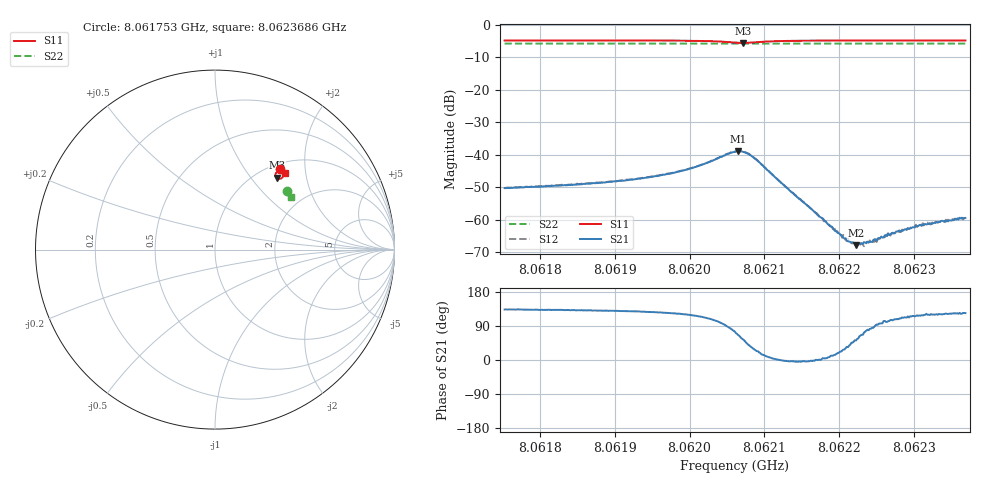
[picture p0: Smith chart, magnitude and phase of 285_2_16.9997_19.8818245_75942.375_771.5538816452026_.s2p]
#  HZ  S  RI  R  50.00
! Rohde & Schwarz Vector Network Analyzer
! Rohde-Schwarz,ZNB20-2Port,1311601062101988,3.16
! Created: UTC 3/20/2024, 11:04:51 PM
! freq[Hz]  re:S11  im:S11  re:S21  im:S21  re:S12  im:S12  re:S22  im:S22
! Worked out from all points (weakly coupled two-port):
!   401 points, 8.061753 GHz to 8.0623686 GHz, reference 50 ohm
!   highest |S21| = -38.87 dB at 8.0620654 GHz (marker M1); lowest = -67.9 dB at 8.0622224 GHz (marker M2)
!   lowest |S11| = -5.5 dB at 8.0620715 GHz (marker M3), VSWR 3.24, Z = 61.2 + j67.9 ohm
!   |S11| at or under -10 dB: nowhere
!   |S22| runs from -5.8 to -5.7 dB; largest |S21 - S12| = 0.00092
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8.06175296e9  0.3614 0.4485  -0.0021 0.00224  -0.00197 0.00235  0.4012 0.3252
8.06185607e9  0.3684 0.4421  -0.00233 0.00262  -0.00222 0.00285  0.4051 0.3199
8.06191148e9  0.3728 0.4378  -0.00253 0.0031  -0.00237 0.00328  0.4072 0.3171
8.06195919e9  0.3771 0.4325  -0.00277 0.00389  -0.00259 0.00409  0.409 0.3145
8.06200998e9  0.3815 0.4211  -0.00292 0.00594  -0.00255 0.00614  0.4108 0.3115
8.06206077e9  0.3602 0.3946  0.00301 0.0106  0.00375 0.0106  0.4113 0.3083
8.06206539e9  0.3534 0.3954  0.00473 0.0104  0.00535 0.0101  0.411 0.3082
8.06207154e9  0.3448 0.3999  0.00647 0.009  0.0072 0.0087  0.411 0.3083
8.06207924e9  0.3381 0.4101  0.00801 0.00653  0.00837 0.00611  0.411 0.3084
8.06209001e9  0.3382 0.4241  0.00765 0.0033  0.00789 0.00275  0.4115 0.3085
8.06211925e9  0.3539 0.4387  0.00399 2.85e-05  0.00403 -0.000257  0.4137 0.3075
8.06216389e9  0.3676 0.4383  0.00143 -7.62e-05  0.00142 -0.000139  0.4158 0.3052
8.06220698e9  0.3743 0.4356  0.000456 0.000239  0.000487 0.000233  0.4174 0.303
8.06221622e9  0.3755 0.435  0.000312 0.000315  0.00034 0.000278  0.418 0.3024
8.06222237e9  0.3762 0.4346  0.000252 0.000315  0.000289 0.000311  0.4179 0.3021
8.06223007e9  0.3771 0.4341  0.000171 0.000393  0.000202 0.000389  0.4184 0.3016
8.06223776e9  0.3776 0.4337  8.13e-05 0.000454  0.00011 0.000442  0.4187 0.3014
8.062247e9  0.3786 0.4329  1.53e-05 0.000502  4.61e-05 0.000456  0.4189 0.3009
8.06226701e9  0.3805 0.4318  -0.000131 0.000565  -0.000116 0.000601  0.4197 0.2999
8.06231472e9  0.3843 0.4289  -0.000421 0.000753  -0.000347 0.000794  0.4213 0.2972
8.06235935e9  0.3875 0.4266  -0.000537 0.000853  -0.000525 0.000927  0.423 0.2951
8.06236858e9  0.3881 0.4259  -0.000594 0.000887  -0.000522 0.000915  0.4233 0.2944
